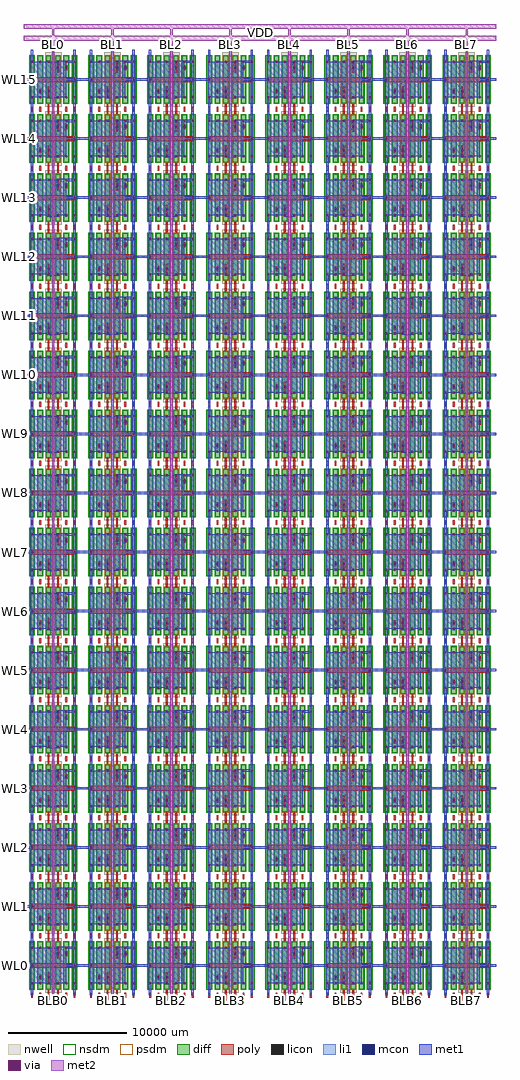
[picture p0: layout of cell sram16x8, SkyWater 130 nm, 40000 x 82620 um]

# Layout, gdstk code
import gdstk
lib = gdstk.Library(unit=1e-6, precision=1e-09)
def R(c, l, rs):  # rectangles x0, y0, x1, y1
    for r in rs: c.add(gdstk.rectangle(r[:2], r[2:], *l))
def A(c, l, x, y, w, h, nx, ny, dx, dy):  # array of equal rectangles
    R(c, l, [(x+i*dx, y+j*dy, x+i*dx+w, y+j*dy+h) for i in range(nx) for j in range(ny)])
nwell = (64, 20)
diff = (65, 20)
poly = (66, 20)
licon = (66, 44)
li1 = (67, 20)
mcon = (67, 44)
met1 = (68, 20)
via = (68, 44)
met2 = (69, 20)
nsdm = (93, 44)
psdm = (94, 20)

sram6t = lib.new_cell('sram6t')
R(sram6t, nwell, [(1800,200,2400,4800), (2600,200,3200,4800)])
A(sram6t, diff, 500, 500, 400, 4000, 3, 1, 700, 0)
A(sram6t, diff, 2700, 500, 400, 4000, 3, 1, 700, 0)
R(sram6t, poly, [(2025,-420,2175,420), (2825,-420,2975,420), (625,-210,775,210), (1325,-210,1475,210), (3525,-210,3675,210), (4225,-210,4375,210), (2025,1080,2175,1920), (1325,1290,1475,1710), (625,2290,4375,2710), (2825,3080,2975,3920), (3525,3290,3675,3710)])
A(sram6t, licon, 615, 915, 170, 170, 3, 2, 700, 3000)
A(sram6t, licon, 2815, 915, 170, 170, 3, 2, 700, 3000)
R(sram6t, licon, [(1315,1415,1485,1585), (2015,1415,2185,1585), (615,2415,785,2585), (4215,2415,4385,2585), (2815,3415,2985,3585), (3515,3415,3685,3585)])
A(sram6t, li1, 615, 915, 170, 170, 3, 2, 700, 3000)
A(sram6t, li1, 2815, 915, 170, 170, 3, 2, 700, 3000)
R(sram6t, li1, [(1315,1415,1485,1585), (2015,1415,2185,1585), (615,2415,785,2585), (4215,2415,4385,2585), (2815,3415,2985,3585), (3515,3415,3685,3585)])
A(sram6t, mcon, 615, 915, 170, 170, 3, 2, 700, 3000)
A(sram6t, mcon, 2815, 915, 170, 170, 3, 2, 700, 3000)
R(sram6t, mcon, [(1315,1415,1485,1585), (2015,1415,2185,1585), (615,2415,785,2585), (4215,2415,4385,2585), (2815,3415,2985,3585), (3515,3415,3685,3585)])
A(sram6t, met1, 600, 900, 200, 200, 3, 2, 700, 3000)
A(sram6t, met1, 2800, 900, 200, 200, 3, 2, 700, 3000)
R(sram6t, met1, [(600,0,800,1000), (4200,0,4400,1000), (2100,900,2900,1100), (600,1000,800,5000), (700,1000,1400,4000), (1400,1000,3600,4000), (1400,1000,2100,4000), (4200,1000,4400,5000), (1300,1400,1500,1600), (1400,1400,2100,1600), (2000,1400,2200,1600), (1400,1500,2900,4000), (0,2400,5000,2600), (600,2400,800,2600), (4200,2400,4400,2600), (2800,3400,3000,3600), (2900,3400,3600,3600), (3500,3400,3700,3600), (2100,3500,2900,4000), (2900,3900,3600,4100), (3600,3900,4300,4100)])
A(sram6t, via, 625, 925, 150, 150, 3, 2, 700, 3000)
A(sram6t, via, 2825, 925, 150, 150, 3, 2, 700, 3000)
R(sram6t, via, [(1325,1425,1475,1575), (2025,1425,2175,1575), (625,2425,775,2575), (4225,2425,4375,2575), (2825,3425,2975,3575), (3525,3425,3675,3575)])
R(sram6t, nsdm, [(450,450,950,4550), (1150,450,1650,4550), (3350,450,3850,4550), (4050,450,4550,4550)])
R(sram6t, psdm, [(1850,450,2350,4550), (2650,450,3150,4550)])
sram6t.add(gdstk.Label('WL', (2500,2500), layer=68, texttype=5))
sram6t.add(gdstk.Label('BL', (700,5000), layer=68, texttype=5))
sram6t.add(gdstk.Label('BLB', (4300,5000), layer=68, texttype=5))
sram6t.add(gdstk.Label('VDD', (2100,0), layer=68, texttype=5))
sram6t.add(gdstk.Label('VSS', (1400,5000), layer=68, texttype=5))
sram6t.add(gdstk.Label('WL', (2500,2500), layer=68, texttype=16))
sram6t.add(gdstk.Label('BL', (700,5000), layer=68, texttype=16))
sram6t.add(gdstk.Label('BLB', (4300,5000), layer=68, texttype=16))
sram6t.add(gdstk.Label('VDD', (2100,0), layer=68, texttype=16))
sram6t.add(gdstk.Label('VSS', (1400,5000), layer=68, texttype=16))

sram16x8 = lib.new_cell('sram16x8')
A(sram16x8, met1, 2400, 0, 200, 80000, 8, 1, 5000, 0)
A(sram16x8, met1, 0, 2400, 40000, 200, 1, 16, 0, 5000)
A(sram16x8, met2, 2425, -75, 150, 150, 8, 16, 5000, 5000)
A(sram16x8, met2, 2400, 0, 200, 81000, 8, 1, 5000, 0)
A(sram16x8, met2, 2400, 0, 200, 82000, 8, 1, 5000, 0)
A(sram16x8, met2, 2400, 5000, 200, 76000, 8, 1, 5000, 0)
A(sram16x8, met2, 2400, 5000, 200, 77000, 8, 1, 5000, 0)
A(sram16x8, met2, 2400, 10000, 200, 71000, 8, 1, 5000, 0)
A(sram16x8, met2, 2400, 10000, 200, 72000, 8, 1, 5000, 0)
A(sram16x8, met2, 2400, 15000, 200, 66000, 8, 1, 5000, 0)
A(sram16x8, met2, 2400, 15000, 200, 67000, 8, 1, 5000, 0)
A(sram16x8, met2, 2400, 20000, 200, 61000, 8, 1, 5000, 0)
A(sram16x8, met2, 2400, 20000, 200, 62000, 8, 1, 5000, 0)
A(sram16x8, met2, 2400, 25000, 200, 56000, 8, 1, 5000, 0)
A(sram16x8, met2, 2400, 25000, 200, 57000, 8, 1, 5000, 0)
A(sram16x8, met2, 2400, 30000, 200, 51000, 8, 1, 5000, 0)
A(sram16x8, met2, 2400, 30000, 200, 52000, 8, 1, 5000, 0)
A(sram16x8, met2, 2400, 35000, 200, 46000, 8, 1, 5000, 0)
A(sram16x8, met2, 2400, 35000, 200, 47000, 8, 1, 5000, 0)
A(sram16x8, met2, 2400, 40000, 200, 41000, 8, 1, 5000, 0)
A(sram16x8, met2, 2400, 40000, 200, 42000, 8, 1, 5000, 0)
A(sram16x8, met2, 2400, 45000, 200, 36000, 8, 1, 5000, 0)
A(sram16x8, met2, 2400, 45000, 200, 37000, 8, 1, 5000, 0)
A(sram16x8, met2, 2400, 50000, 200, 31000, 8, 1, 5000, 0)
A(sram16x8, met2, 2400, 50000, 200, 32000, 8, 1, 5000, 0)
A(sram16x8, met2, 2400, 55000, 200, 26000, 8, 1, 5000, 0)
A(sram16x8, met2, 2400, 55000, 200, 27000, 8, 1, 5000, 0)
A(sram16x8, met2, 2400, 60000, 200, 21000, 8, 1, 5000, 0)
A(sram16x8, met2, 2400, 60000, 200, 22000, 8, 1, 5000, 0)
A(sram16x8, met2, 2400, 65000, 200, 16000, 8, 1, 5000, 0)
A(sram16x8, met2, 2400, 65000, 200, 17000, 8, 1, 5000, 0)
A(sram16x8, met2, 2400, 70000, 200, 11000, 8, 1, 5000, 0)
A(sram16x8, met2, 2400, 70000, 200, 12000, 8, 1, 5000, 0)
A(sram16x8, met2, 2400, 75000, 200, 6000, 8, 1, 5000, 0)
A(sram16x8, met2, 2400, 75000, 200, 7000, 8, 1, 5000, 0)
R(sram16x8, met2, [(0,80800,40000,81200), (0,81800,40000,82200)])
sram16x8.add(gdstk.Reference(sram6t, (0,35000)))
sram16x8.add(gdstk.Reference(sram6t, (5000,35000)))
sram16x8.add(gdstk.Reference(sram6t, (10000,35000)))
sram16x8.add(gdstk.Reference(sram6t, (15000,35000)))
sram16x8.add(gdstk.Reference(sram6t, (20000,35000)))
sram16x8.add(gdstk.Reference(sram6t, (25000,35000)))
sram16x8.add(gdstk.Reference(sram6t, (30000,35000)))
sram16x8.add(gdstk.Reference(sram6t, (35000,35000)))
sram16x8.add(gdstk.Reference(sram6t, (0,40000)))
sram16x8.add(gdstk.Reference(sram6t, (5000,40000)))
sram16x8.add(gdstk.Reference(sram6t, (10000,40000)))
sram16x8.add(gdstk.Reference(sram6t, (15000,40000)))
sram16x8.add(gdstk.Reference(sram6t, (20000,40000)))
sram16x8.add(gdstk.Reference(sram6t, (25000,40000)))
sram16x8.add(gdstk.Reference(sram6t, (30000,40000)))
sram16x8.add(gdstk.Reference(sram6t, (35000,40000)))
sram16x8.add(gdstk.Reference(sram6t, (20000,45000)))
sram16x8.add(gdstk.Reference(sram6t, (25000,45000)))
sram16x8.add(gdstk.Reference(sram6t, (30000,45000)))
sram16x8.add(gdstk.Reference(sram6t, (35000,45000)))
sram16x8.add(gdstk.Reference(sram6t, (20000,50000)))
sram16x8.add(gdstk.Reference(sram6t, (25000,50000)))
sram16x8.add(gdstk.Reference(sram6t, (30000,50000)))
sram16x8.add(gdstk.Reference(sram6t, (35000,50000)))
sram16x8.add(gdstk.Reference(sram6t, (20000,55000)))
sram16x8.add(gdstk.Reference(sram6t, (25000,55000)))
sram16x8.add(gdstk.Reference(sram6t, (30000,55000)))
sram16x8.add(gdstk.Reference(sram6t, (35000,55000)))
sram16x8.add(gdstk.Reference(sram6t, (20000,60000)))
sram16x8.add(gdstk.Reference(sram6t, (25000,60000)))
sram16x8.add(gdstk.Reference(sram6t, (30000,60000)))
sram16x8.add(gdstk.Reference(sram6t, (35000,60000)))
sram16x8.add(gdstk.Reference(sram6t, (20000,65000)))
sram16x8.add(gdstk.Reference(sram6t, (25000,65000)))
sram16x8.add(gdstk.Reference(sram6t, (30000,65000)))
sram16x8.add(gdstk.Reference(sram6t, (35000,65000)))
sram16x8.add(gdstk.Reference(sram6t, (20000,70000)))
sram16x8.add(gdstk.Reference(sram6t, (25000,70000)))
sram16x8.add(gdstk.Reference(sram6t, (30000,70000)))
sram16x8.add(gdstk.Reference(sram6t, (35000,70000)))
sram16x8.add(gdstk.Reference(sram6t, (20000,75000)))
sram16x8.add(gdstk.Reference(sram6t, (25000,75000)))
sram16x8.add(gdstk.Reference(sram6t, (30000,75000)))
sram16x8.add(gdstk.Reference(sram6t, (35000,75000)))
sram16x8.add(gdstk.Reference(sram6t, (0,45000)))
sram16x8.add(gdstk.Reference(sram6t, (5000,45000)))
sram16x8.add(gdstk.Reference(sram6t, (10000,45000)))
sram16x8.add(gdstk.Reference(sram6t, (15000,45000)))
sram16x8.add(gdstk.Reference(sram6t, (0,65000)))
sram16x8.add(gdstk.Reference(sram6t, (5000,65000)))
sram16x8.add(gdstk.Reference(sram6t, (10000,65000)))
sram16x8.add(gdstk.Reference(sram6t, (15000,65000)))
sram16x8.add(gdstk.Reference(sram6t, (0,55000)))
sram16x8.add(gdstk.Reference(sram6t, (5000,55000)))
sram16x8.add(gdstk.Reference(sram6t, (10000,55000)))
sram16x8.add(gdstk.Reference(sram6t, (15000,55000)))
sram16x8.add(gdstk.Reference(sram6t, (0,70000)))
sram16x8.add(gdstk.Reference(sram6t, (5000,70000)))
sram16x8.add(gdstk.Reference(sram6t, (10000,70000)))
sram16x8.add(gdstk.Reference(sram6t, (15000,70000)))
sram16x8.add(gdstk.Reference(sram6t, (0,50000)))
sram16x8.add(gdstk.Reference(sram6t, (5000,50000)))
sram16x8.add(gdstk.Reference(sram6t, (10000,50000)))
sram16x8.add(gdstk.Reference(sram6t, (15000,50000)))
sram16x8.add(gdstk.Reference(sram6t, (0,75000)))
sram16x8.add(gdstk.Reference(sram6t, (5000,75000)))
sram16x8.add(gdstk.Reference(sram6t, (10000,75000)))
sram16x8.add(gdstk.Reference(sram6t, (15000,75000)))
sram16x8.add(gdstk.Reference(sram6t, (0,60000)))
sram16x8.add(gdstk.Reference(sram6t, (5000,60000)))
sram16x8.add(gdstk.Reference(sram6t, (10000,60000)))
sram16x8.add(gdstk.Reference(sram6t, (15000,60000)))
sram16x8.add(gdstk.Reference(sram6t, (0,20000)))
sram16x8.add(gdstk.Reference(sram6t, (5000,20000)))
sram16x8.add(gdstk.Reference(sram6t, (10000,20000)))
sram16x8.add(gdstk.Reference(sram6t, (15000,20000)))
sram16x8.add(gdstk.Reference(sram6t, (0,25000)))
sram16x8.add(gdstk.Reference(sram6t, (5000,25000)))
sram16x8.add(gdstk.Reference(sram6t, (10000,25000)))
sram16x8.add(gdstk.Reference(sram6t, (15000,25000)))
sram16x8.add(gdstk.Reference(sram6t, (0,30000)))
sram16x8.add(gdstk.Reference(sram6t, (5000,30000)))
sram16x8.add(gdstk.Reference(sram6t, (10000,30000)))
sram16x8.add(gdstk.Reference(sram6t, (15000,30000)))
sram16x8.add(gdstk.Reference(sram6t, (0,0)))
sram16x8.add(gdstk.Reference(sram6t, (5000,0)))
sram16x8.add(gdstk.Reference(sram6t, (10000,0)))
sram16x8.add(gdstk.Reference(sram6t, (15000,0)))
sram16x8.add(gdstk.Reference(sram6t, (0,5000)))
sram16x8.add(gdstk.Reference(sram6t, (5000,5000)))
sram16x8.add(gdstk.Reference(sram6t, (10000,5000)))
sram16x8.add(gdstk.Reference(sram6t, (15000,5000)))
sram16x8.add(gdstk.Reference(sram6t, (0,10000)))
sram16x8.add(gdstk.Reference(sram6t, (5000,10000)))
sram16x8.add(gdstk.Reference(sram6t, (10000,10000)))
sram16x8.add(gdstk.Reference(sram6t, (15000,10000)))
sram16x8.add(gdstk.Reference(sram6t, (0,15000)))
sram16x8.add(gdstk.Reference(sram6t, (5000,15000)))
sram16x8.add(gdstk.Reference(sram6t, (10000,15000)))
sram16x8.add(gdstk.Reference(sram6t, (15000,15000)))
sram16x8.add(gdstk.Reference(sram6t, (20000,25000)))
sram16x8.add(gdstk.Reference(sram6t, (25000,25000)))
sram16x8.add(gdstk.Reference(sram6t, (30000,25000)))
sram16x8.add(gdstk.Reference(sram6t, (35000,25000)))
sram16x8.add(gdstk.Reference(sram6t, (20000,5000)))
sram16x8.add(gdstk.Reference(sram6t, (25000,5000)))
sram16x8.add(gdstk.Reference(sram6t, (30000,5000)))
sram16x8.add(gdstk.Reference(sram6t, (35000,5000)))
sram16x8.add(gdstk.Reference(sram6t, (20000,30000)))
sram16x8.add(gdstk.Reference(sram6t, (25000,30000)))
sram16x8.add(gdstk.Reference(sram6t, (30000,30000)))
sram16x8.add(gdstk.Reference(sram6t, (35000,30000)))
sram16x8.add(gdstk.Reference(sram6t, (20000,15000)))
sram16x8.add(gdstk.Reference(sram6t, (25000,15000)))
sram16x8.add(gdstk.Reference(sram6t, (30000,15000)))
sram16x8.add(gdstk.Reference(sram6t, (35000,15000)))
sram16x8.add(gdstk.Reference(sram6t, (20000,0)))
sram16x8.add(gdstk.Reference(sram6t, (25000,0)))
sram16x8.add(gdstk.Reference(sram6t, (30000,0)))
sram16x8.add(gdstk.Reference(sram6t, (35000,0)))
sram16x8.add(gdstk.Reference(sram6t, (20000,20000)))
sram16x8.add(gdstk.Reference(sram6t, (25000,20000)))
sram16x8.add(gdstk.Reference(sram6t, (30000,20000)))
sram16x8.add(gdstk.Reference(sram6t, (35000,20000)))
sram16x8.add(gdstk.Reference(sram6t, (20000,10000)))
sram16x8.add(gdstk.Reference(sram6t, (25000,10000)))
sram16x8.add(gdstk.Reference(sram6t, (30000,10000)))
sram16x8.add(gdstk.Reference(sram6t, (35000,10000)))
sram16x8.add(gdstk.Label('WL0', (-1000,2500), layer=68, texttype=5))
sram16x8.add(gdstk.Label('WL1', (-1000,7500), layer=68, texttype=5))
sram16x8.add(gdstk.Label('WL2', (-1000,12500), layer=68, texttype=5))
sram16x8.add(gdstk.Label('WL3', (-1000,17500), layer=68, texttype=5))
sram16x8.add(gdstk.Label('WL4', (-1000,22500), layer=68, texttype=5))
sram16x8.add(gdstk.Label('WL5', (-1000,27500), layer=68, texttype=5))
sram16x8.add(gdstk.Label('WL6', (-1000,32500), layer=68, texttype=5))
sram16x8.add(gdstk.Label('WL7', (-1000,37500), layer=68, texttype=5))
sram16x8.add(gdstk.Label('WL8', (-1000,42500), layer=68, texttype=5))
sram16x8.add(gdstk.Label('WL9', (-1000,47500), layer=68, texttype=5))
sram16x8.add(gdstk.Label('WL10', (-1000,52500), layer=68, texttype=5))
sram16x8.add(gdstk.Label('WL11', (-1000,57500), layer=68, texttype=5))
sram16x8.add(gdstk.Label('WL12', (-1000,62500), layer=68, texttype=5))
sram16x8.add(gdstk.Label('WL13', (-1000,67500), layer=68, texttype=5))
sram16x8.add(gdstk.Label('WL14', (-1000,72500), layer=68, texttype=5))
sram16x8.add(gdstk.Label('WL15', (-1000,77500), layer=68, texttype=5))
sram16x8.add(gdstk.Label('BL0', (2500,80500), layer=68, texttype=5))
sram16x8.add(gdstk.Label('BLB0', (2500,-500), layer=68, texttype=5))
sram16x8.add(gdstk.Label('BL1', (7500,80500), layer=68, texttype=5))
sram16x8.add(gdstk.Label('BLB1', (7500,-500), layer=68, texttype=5))
sram16x8.add(gdstk.Label('BL2', (12500,80500), layer=68, texttype=5))
sram16x8.add(gdstk.Label('BLB2', (12500,-500), layer=68, texttype=5))
sram16x8.add(gdstk.Label('BL3', (17500,80500), layer=68, texttype=5))
sram16x8.add(gdstk.Label('BLB3', (17500,-500), layer=68, texttype=5))
sram16x8.add(gdstk.Label('BL4', (22500,80500), layer=68, texttype=5))
sram16x8.add(gdstk.Label('BLB4', (22500,-500), layer=68, texttype=5))
sram16x8.add(gdstk.Label('BL5', (27500,80500), layer=68, texttype=5))
sram16x8.add(gdstk.Label('BLB5', (27500,-500), layer=68, texttype=5))
sram16x8.add(gdstk.Label('BL6', (32500,80500), layer=68, texttype=5))
sram16x8.add(gdstk.Label('BLB6', (32500,-500), layer=68, texttype=5))
sram16x8.add(gdstk.Label('BL7', (37500,80500), layer=68, texttype=5))
sram16x8.add(gdstk.Label('BLB7', (37500,-500), layer=68, texttype=5))
sram16x8.add(gdstk.Label('VDD', (20000,81500), layer=68, texttype=5))
sram16x8.add(gdstk.Label('VSS', (20000,82500), layer=68, texttype=5))
sram16x8.add(gdstk.Label('WL0', (-1000,2500), layer=68, texttype=16))
sram16x8.add(gdstk.Label('WL1', (-1000,7500), layer=68, texttype=16))
sram16x8.add(gdstk.Label('WL2', (-1000,12500), layer=68, texttype=16))
sram16x8.add(gdstk.Label('WL3', (-1000,17500), layer=68, texttype=16))
sram16x8.add(gdstk.Label('WL4', (-1000,22500), layer=68, texttype=16))
sram16x8.add(gdstk.Label('WL5', (-1000,27500), layer=68, texttype=16))
sram16x8.add(gdstk.Label('WL6', (-1000,32500), layer=68, texttype=16))
sram16x8.add(gdstk.Label('WL7', (-1000,37500), layer=68, texttype=16))
sram16x8.add(gdstk.Label('WL8', (-1000,42500), layer=68, texttype=16))
sram16x8.add(gdstk.Label('WL9', (-1000,47500), layer=68, texttype=16))
sram16x8.add(gdstk.Label('WL10', (-1000,52500), layer=68, texttype=16))
sram16x8.add(gdstk.Label('WL11', (-1000,57500), layer=68, texttype=16))
sram16x8.add(gdstk.Label('WL12', (-1000,62500), layer=68, texttype=16))
sram16x8.add(gdstk.Label('WL13', (-1000,67500), layer=68, texttype=16))
sram16x8.add(gdstk.Label('WL14', (-1000,72500), layer=68, texttype=16))
sram16x8.add(gdstk.Label('WL15', (-1000,77500), layer=68, texttype=16))
sram16x8.add(gdstk.Label('BL0', (2500,80500), layer=68, texttype=16))
sram16x8.add(gdstk.Label('BLB0', (2500,-500), layer=68, texttype=16))
sram16x8.add(gdstk.Label('BL1', (7500,80500), layer=68, texttype=16))
sram16x8.add(gdstk.Label('BLB1', (7500,-500), layer=68, texttype=16))
sram16x8.add(gdstk.Label('BL2', (12500,80500), layer=68, texttype=16))
sram16x8.add(gdstk.Label('BLB2', (12500,-500), layer=68, texttype=16))
sram16x8.add(gdstk.Label('BL3', (17500,80500), layer=68, texttype=16))
sram16x8.add(gdstk.Label('BLB3', (17500,-500), layer=68, texttype=16))
sram16x8.add(gdstk.Label('BL4', (22500,80500), layer=68, texttype=16))
sram16x8.add(gdstk.Label('BLB4', (22500,-500), layer=68, texttype=16))
sram16x8.add(gdstk.Label('BL5', (27500,80500), layer=68, texttype=16))
sram16x8.add(gdstk.Label('BLB5', (27500,-500), layer=68, texttype=16))
sram16x8.add(gdstk.Label('BL6', (32500,80500), layer=68, texttype=16))
sram16x8.add(gdstk.Label('BLB6', (32500,-500), layer=68, texttype=16))
sram16x8.add(gdstk.Label('BL7', (37500,80500), layer=68, texttype=16))
sram16x8.add(gdstk.Label('BLB7', (37500,-500), layer=68, texttype=16))
sram16x8.add(gdstk.Label('VDD', (20000,81500), layer=68, texttype=16))
sram16x8.add(gdstk.Label('VSS', (20000,82500), layer=68, texttype=16))

lib.write_gds('sram16x8.gds')
